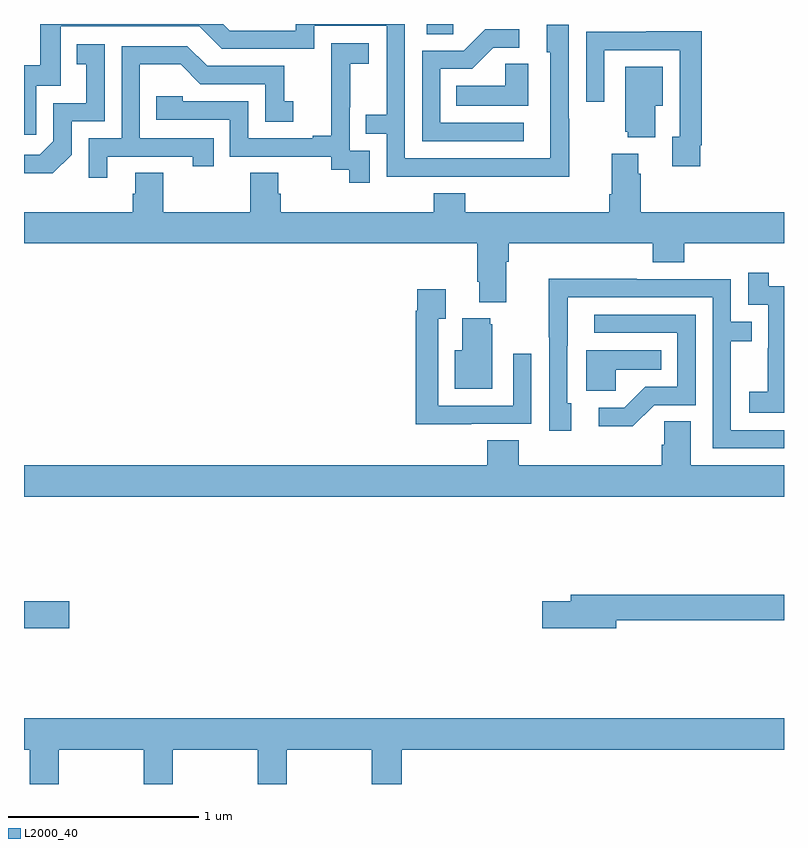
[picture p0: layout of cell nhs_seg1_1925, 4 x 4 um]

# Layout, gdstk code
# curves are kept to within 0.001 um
import gdstk
lib = gdstk.Library(unit=1e-6, precision=1e-09)
def R(c, l, rs):  # rectangles x0, y0, x1, y1
    for r in rs: c.add(gdstk.rectangle(r[:2], r[2:], *l))
def P(c, l, *ps):  # polygons
    for p in ps: c.add(gdstk.Polygon(p, *l))
L2000_40 = (2000, 40)

nhs_seg1_1925 = lib.new_cell('nhs_seg1_1925')
R(nhs_seg1_1925, L2000_40, [(215,571.018,215.239,571.16), (217.121,574.144,217.26,574.199)])
P(nhs_seg1_1925, L2000_40, [(217.869,573.701),(217.866,573.701),(217.866,574.195),(217.751,574.195),(217.751,574.05),(217.77,574.05),(217.77,573.492),(217.005,573.492),(217.005,574.199),(216.431,574.199),(216.431,574.164),(216.084,574.164),(216.049,574.199),(215.085,574.199),(215.085,573.982),(215,573.982),(215,573.615),(215.064,573.615),(215.064,573.873),(215.193,573.873),(215.193,574.188),(215.922,574.188),(216.042,574.068),(216.528,574.068),(216.528,574.191),(216.909,574.191),(216.909,573.722),(216.799,573.722),(216.799,573.621),(216.909,573.621),(216.909,573.396),(217.869,573.395)],
  [(217.63,573.678),(217.191,573.678),(217.191,573.963),(217.36,573.963),(217.471,574.074),(217.606,574.074),(217.606,574.172),(217.427,574.172),(217.314,574.059),(217.095,574.059),(217.095,573.582),(217.63,573.582)],
  [(218.56,573.562),(218.567,573.562),(218.567,574.16),(218.275,574.16),(218.275,574.158),(217.959,574.158),(217.959,573.789),(218.055,573.789),(218.055,574.062),(218.451,574.062),(218.451,573.606),(218.411,573.606),(218.411,573.45),(218.56,573.45)],
  [(216.819,573.531),(216.714,573.531),(216.714,573.761),(216.716,573.761),(216.716,573.989),(216.814,573.989),(216.814,574.099),(216.616,574.099),(216.616,573.893),(216.617,573.893),(216.617,573.61),(216.521,573.61),(216.521,573.597),(216.18,573.597),(216.18,573.792),(215.835,573.792),(215.835,573.819),(215.695,573.819),(215.695,573.696),(216.084,573.696),(216.084,573.501),(216.618,573.501),(216.618,573.433),(216.711,573.433),(216.711,573.363),(216.819,573.363)],
  [(215.25,573.51),(215.25,573.687),(215.424,573.687),(215.424,574.093),(215.278,574.093),(215.278,573.987),(215.327,573.987),(215.327,573.783),(215.154,573.783),(215.154,573.582),(215.082,573.51),(215,573.51),(215,573.413),(215.152,573.413)],
  [(215.437,573.501),(215.888,573.501),(215.888,573.45),(215.999,573.45),(215.999,573.597),(215.61,573.597),(215.61,573.986),(215.824,573.986),(215.928,573.882),(216.27,573.882),(216.27,573.684),(216.418,573.684),(216.418,573.793),(216.369,573.793),(216.369,573.978),(215.965,573.978),(215.86,574.083),(215.514,574.083),(215.514,573.597),(215.34,573.597),(215.34,573.39),(215.437,573.39)],
  [(217.654,573.989),(217.533,573.989),(217.533,573.874),(217.276,573.874),(217.276,573.77),(217.654,573.77)],
  [(218.323,573.77),(218.362,573.77),(218.362,573.973),(218.165,573.973),(218.165,573.633),(218.177,573.633),(218.177,573.602),(218.323,573.602)],
  [(216.19,573.416),(216.19,573.208),(215.733,573.208),(215.733,573.416),(215.585,573.416),(215.585,573.306),(215.573,573.306),(215.573,573.208),(215,573.208),(215,573.044),(217.385,573.044),(217.385,572.842),(217.397,572.842),(217.397,572.735),(217.537,572.735),(217.537,572.948),(217.55,572.948),(217.55,573.044),(218.309,573.044),(218.309,572.945),(218.474,572.945),(218.474,573.044),(219,573.044),(219,573.208),(218.246,573.208),(218.246,573.41),(218.233,573.41),(218.233,573.517),(218.093,573.517),(218.093,573.304),(218.081,573.304),(218.081,573.208),(217.322,573.208),(217.322,573.307),(217.157,573.307),(217.157,573.208),(216.35,573.208),(216.35,573.306),(216.337,573.306),(216.337,573.416)],
  [(219,572.82),(218.92,572.82),(218.92,572.89),(218.811,572.89),(218.811,572.721),(218.916,572.721),(218.916,572.492),(218.915,572.492),(218.915,572.263),(218.817,572.263),(218.817,572.153),(219,572.153)],
  [(219,572.061),(218.721,572.061),(218.721,572.53),(218.831,572.53),(218.831,572.631),(218.721,572.631),(218.721,572.856),(218.225,572.856),(218.225,572.858),(217.762,572.858),(217.762,572.551),(217.764,572.551),(217.764,572.058),(217.879,572.058),(217.879,572.202),(217.86,572.202),(217.86,572.506),(217.861,572.506),(217.861,572.76),(218.625,572.76),(218.625,571.965),(219,571.965)],
  [(217.355,572.094),(217.671,572.094),(217.671,572.464),(217.575,572.464),(217.575,572.19),(217.179,572.19),(217.179,572.647),(217.219,572.647),(217.219,572.803),(217.071,572.803),(217.071,572.69),(217.063,572.69),(217.063,572.093),(217.355,572.093)],
  [(218.316,572.193),(218.535,572.193),(218.535,572.67),(218.001,572.67),(218.001,572.574),(218.439,572.574),(218.439,572.289),(218.27,572.289),(218.159,572.178),(218.025,572.178),(218.025,572.081),(218.203,572.081)],
  [(217.465,572.619),(217.454,572.619),(217.454,572.65),(217.307,572.65),(217.307,572.482),(217.268,572.482),(217.268,572.279),(217.465,572.279)],
  [(218.115,572.378),(218.354,572.378),(218.354,572.482),(217.958,572.482),(217.958,572.27),(218.115,572.27)],
  [(219,571.876),(218.509,571.876),(218.509,572.108),(218.37,572.108),(218.37,571.985),(218.357,571.985),(218.357,571.876),(217.604,571.876),(217.604,572.009),(217.439,572.009),(217.439,571.876),(215,571.876),(215,571.712),(219,571.712)],
  [(218.116,571.06),(219,571.06),(219,571.196),(217.877,571.196),(217.877,571.16),(217.728,571.16),(217.728,571.018),(218.116,571.018)],
  [(215.184,570.38),(215.629,570.38),(215.629,570.199),(215.784,570.199),(215.784,570.38),(216.229,570.38),(216.229,570.199),(216.384,570.199),(216.384,570.38),(216.829,570.38),(216.829,570.199),(216.989,570.199),(216.989,570.38),(219,570.38),(219,570.544),(215,570.544),(215,570.38),(215.029,570.38),(215.029,570.199),(215.184,570.199)])

lib.write_gds('nhs_seg1_1925.gds')
